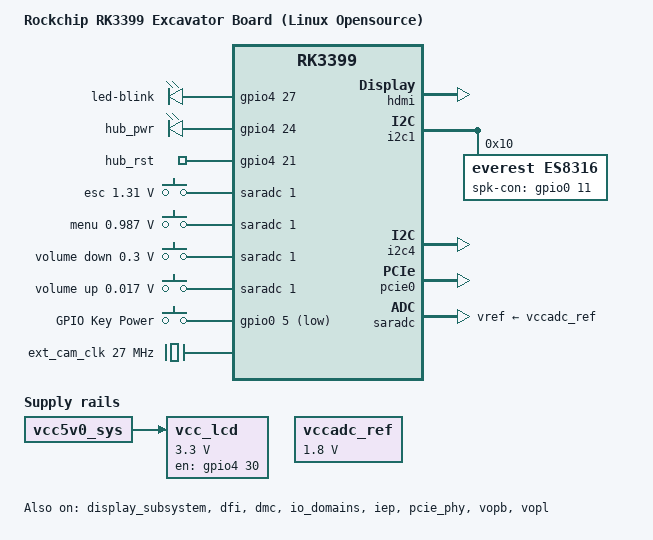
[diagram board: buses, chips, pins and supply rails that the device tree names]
/*
 * Copyright (c) 2019 Fuzhou Rockchip Electronics Co., Ltd
 *
 * This file is dual-licensed: you can use it either under the terms
 * of the GPL or the X11 license, at your option. Note that this dual
 * licensing only applies to this file, and not this project as a
 * whole.
 *
 *  a) This file is free software; you can redistribute it and/or
 *     modify it under the terms of the GNU General Public License as
 *     published by the Free Software Foundation; either version 2 of the
 *     License, or (at your option) any later version.
 *
 *     This file is distributed in the hope that it will be useful,
 *     but WITHOUT ANY WARRANTY; without even the implied warranty of
 *     MERCHANTABILITY or FITNESS FOR A PARTICULAR PURPOSE.  See the
 *     GNU General Public License for more details.
 *
 * Or, alternatively,
 *
 *  b) Permission is hereby granted, free of charge, to any person
 *     obtaining a copy of this software and associated documentation
 *     files (the "Software"), to deal in the Software without
 *     restriction, including without limitation the rights to use,
 *     copy, modify, merge, publish, distribute, sublicense, and/or
 *     sell copies of the Software, and to permit persons to whom the
 *     Software is furnished to do so, subject to the following
 *     conditions:
 *
 *     The above copyright notice and this permission notice shall be
 *     included in all copies or substantial portions of the Software.
 *
 *     THE SOFTWARE IS PROVIDED "AS IS", WITHOUT WARRANTY OF ANY KIND,
 *     EXPRESS OR IMPLIED, INCLUDING BUT NOT LIMITED TO THE WARRANTIES
 *     OF MERCHANTABILITY, FITNESS FOR A PARTICULAR PURPOSE AND
 *     NONINFRINGEMENT. IN NO EVENT SHALL THE AUTHORS OR COPYRIGHT
 *     HOLDERS BE LIABLE FOR ANY CLAIM, DAMAGES OR OTHER LIABILITY,
 *     WHETHER IN AN ACTION OF CONTRACT, TORT OR OTHERWISE, ARISING
 *     FROM, OUT OF OR IN CONNECTION WITH THE SOFTWARE OR THE USE OR
 *     OTHER DEALINGS IN THE SOFTWARE.
 */

/dts-v1/;

#include "rk3399-excavator-sapphire.dtsi"
#include "rk3399-linux.dtsi"
#include <dt-bindings/input/input.h>
//#include "screen-timing/panel-toshiba-duallvds-1920x1080.dtsi"

/ {
	model = "Rockchip RK3399 Excavator Board (Linux Opensource)";
	compatible = "rockchip,rk3399-excavator-linux", "rockchip,rk3399";

	vcc_lcd: vcc-lcd {
		compatible = "regulator-fixed";
		regulator-name = "vcc_lcd";
		gpio = <&gpio4 30 GPIO_ACTIVE_HIGH>;
		startup-delay-us = <20000>;
		enable-active-high;
		regulator-min-microvolt = <3300000>;
		regulator-max-microvolt = <3300000>;
		regulator-boot-on;
		vin-supply = <&vcc5v0_sys>;
	};

	vccadc_ref: vccadc-ref {
		compatible = "regulator-fixed";
		regulator-name = "vcc1v8_sys";
		regulator-always-on;
		regulator-boot-on;
		regulator-min-microvolt = <1800000>;
		regulator-max-microvolt = <1800000>;
	};


	leds {  
                status = "okay";
                compatible = "gpio-leds";

		pinctrl-names = "default";
                pinctrl-0 = <&bl_en>;
                SYS_STATUS {
                        gpios = <&gpio4 27 GPIO_ACTIVE_HIGH>;
                        label = "led-blink";
                        linux,default-trigger = "timer";
                        retain-state-suspended;
                };
                hub_pwr {
                        gpios = <&gpio4 24 GPIO_ACTIVE_HIGH>;
                        default-state = "on";
                };
                hub_rst {
                        gpios = <&gpio4 21 GPIO_ACTIVE_HIGH>;
                        default-state = "on";
                };
        };

	es8316-sound {
                compatible = "simple-audio-card";
                simple-audio-card,format = "i2s";
                simple-audio-card,name = "rockchip,es8316-codec";
                simple-audio-card,mclk-fs = <256>;
                simple-audio-card,widgets =
                        "Microphone", "Mic Jack",
                        "Headphone", "Headphone Jack";
                simple-audio-card,routing =
                        "Mic Jack", "MICBIAS1",
                        "IN1P", "Mic Jack",
                        "Headphone Jack", "HPOL",
                        "Headphone Jack", "HPOR";
                simple-audio-card,cpu {
                        sound-dai = <&i2s0>;
                };
                simple-audio-card,codec {
                        sound-dai = <&es8316>;
                };
        };

	adc_keys: adc-keys {
		compatible = "adc-keys";
		io-channels = <&saradc 1>;
		io-channel-names = "buttons";
		poll-interval = <100>;
		keyup-threshold-microvolt = <1800000>;

		esc-key {
			linux,code = <KEY_ESC>;
			label = "esc";
			press-threshold-microvolt = <1310000>;
		};

		menu-key {
			linux,code = <KEY_MENU>;
			label = "menu";
			press-threshold-microvolt = <987000>;
		};

		vol-down-key {
			linux,code = <KEY_VOLUMEDOWN>;
			label = "volume down";
			press-threshold-microvolt = <300000>;
		};

		vol-up-key {
			linux,code = <KEY_VOLUMEUP>;
			label = "volume up";
			press-threshold-microvolt = <17000>;
		};
	};

	gpio_keys: gpio-keys {
		compatible = "gpio-keys";
		#address-cells = <1>;
		#size-cells = <0>;
		autorepeat;

		pinctrl-names = "default";
		pinctrl-0 = <&pwrbtn>;

		button@0 {
			gpios = <&gpio0 5 GPIO_ACTIVE_LOW>;
			linux,code = <KEY_POWER>;
			label = "GPIO Key Power";
			linux,input-type = <1>;
			gpio-key,wakeup = <1>;
			debounce-interval = <100>;
		};
	};

	ext_cam_clk: external-camera-clock {
		compatible = "fixed-clock";
		clock-frequency = <27000000>;
		clock-output-names = "CLK_CAMERA_27MHZ";
		#clock-cells = <0>;
	};

	test_power: test-power {
		status = "okay";
	};
};

&display_subsystem {
	status = "okay";
};

&dfi {
	status = "okay";
};

&dmc {
	status = "okay";
	center-supply = <&vdd_center>;
	system-status-freq = <
		/*system status         freq(KHz)*/
		SYS_STATUS_NORMAL       856000
		SYS_STATUS_REBOOT       416000
		SYS_STATUS_SUSPEND      416000
		SYS_STATUS_VIDEO_1080P  416000
		SYS_STATUS_VIDEO_4K     856000
		SYS_STATUS_VIDEO_4K_10B 856000
		SYS_STATUS_PERFORMANCE  856000
		SYS_STATUS_BOOST        856000
		SYS_STATUS_DUALVIEW     856000
		SYS_STATUS_ISP          856000
	>;
	vop-bw-dmc-freq = <
	/* min_bw(MB/s) max_bw(MB/s) freq(KHz) */
		0       577      416000
		578     99999    856000
	>;
	auto-min-freq = <416000>;
	auto-freq-en = <0>;
};

&dmc_opp_table {
	compatible = "operating-points-v2";

	opp-200000000 {
		opp-hz = /bits/ 64 <200000000>;
		opp-microvolt = <900000>;
		status = "disabled";
	};
	opp-300000000 {
		opp-hz = /bits/ 64 <300000000>;
		opp-microvolt = <900000>;
		status = "disabled";
	};
	opp-400000000 {
		opp-hz = /bits/ 64 <400000000>;
		opp-microvolt = <900000>;
		status = "disabled";
	};
	opp-416000000 {
		opp-hz = /bits/ 64 <416000000>;
		opp-microvolt = <900000>;
	};
	opp-528000000 {
		opp-hz = /bits/ 64 <528000000>;
		opp-microvolt = <900000>;
		status = "disabled";
	};
	opp-600000000 {
		opp-hz = /bits/ 64 <600000000>;
		opp-microvolt = <900000>;
		status = "disabled";
	};
	opp-800000000 {
		opp-hz = /bits/ 64 <800000000>;
		opp-microvolt = <900000>;
		status = "disabled";
	};
	opp-856000000 {
		opp-hz = /bits/ 64 <856000000>;
		opp-microvolt = <900000>;
	};
	opp-928000000 {
		opp-hz = /bits/ 64 <928000000>;
		opp-microvolt = <900000>;
		status = "disabled";
	};
	opp-1056000000 {
		opp-hz = /bits/ 64 <1056000000>;
		opp-microvolt = <900000>;
		status = "disabled";
	};
};

&sdmmc {
	status = "disabled";
};

&hdmi {
	pinctrl-names = "default";
	pinctrl-0 = <&hdmi_i2c_xfer>, <&hdmi_cec>;
	#address-cells = <1>;
	#size-cells = <0>;
	#sound-dai-cells = <0>;
	status = "okay";
};

&hdmi_in_vopl {
	status = "disabled";
};

&io_domains {
        status = "okay";

        bt656-supply = <&vcc1v8_dvp>;              /* bt656_gpio2ab_ms */
        audio-supply = <&vcca1v8_codec>;        /* audio_gpio3d4a_ms */
        sdmmc-supply = <&vccio_sd>;             /* sdmmc_gpio4b_ms */
        gpio1830-supply = <&vcc_3v0>;           /* gpio1833_gpio4cd_ms */
};

&pmu_io_domains {
        status = "okay";
        pmu1830-supply = <&vcc_1v8>;
};

&i2c1 {
	status = "okay";

	es8316: es8316@10 {
                status = "okay";
                #sound-dai-cells = <0>;
                compatible = "everest,es8316";
                reg = <0x10>;
                clocks = <&cru SCLK_I2S_8CH_OUT>;
                clock-names = "mclk";
                pinctrl-names = "default";
                pinctrl-0 = <&i2s_8ch_mclk>;
                spk-con-gpio = <&gpio0 11 GPIO_ACTIVE_HIGH>;
                //hp-det-gpio = <&gpio4 28 GPIO_ACTIVE_HIGH>;
        };
};

&i2c4 {
	status = "okay";
};

&iep {
	status = "okay";
};

&iep_mmu {
	status = "okay";
};

&isp0_mmu {
	status = "okay";
};

&isp1_mmu {
	status = "okay";
};

&pcie_phy {
	status = "okay";
};

&pcie0 {
	status = "okay";
};

&saradc {
	vref-supply = <&vccadc_ref>;
};

&vopb {
	assigned-clocks = <&cru DCLK_VOP0_DIV>;
	assigned-clock-parents = <&cru PLL_CPLL>;
	status = "okay";
};

&vopb_mmu {
	status = "okay";
};

&vopl {
	assigned-clocks = <&cru DCLK_VOP0_DIV>;
	assigned-clock-parents = <&cru PLL_CPLL>;
	status = "okay";
};

&vopl_mmu {
	status = "okay";
};

&pinctrl {
	buttons {
		pwrbtn: pwrbtn {
			rockchip,pins = <0 5 RK_FUNC_GPIO &pcfg_pull_up>;
		};
	};

	hdmiin {
		hdmiin_gpios: hdmiin-gpios {
			rockchip,pins =
				<2 5 RK_FUNC_GPIO &pcfg_output_high>,
				<2 6 RK_FUNC_GPIO &pcfg_output_high>,
				<2 7 RK_FUNC_GPIO &pcfg_pull_none>,
				<2 8 RK_FUNC_GPIO &pcfg_output_high>,
				<2 9 RK_FUNC_GPIO &pcfg_output_high>,
				<2 10 RK_FUNC_GPIO &pcfg_output_low>,
				<2 12 RK_FUNC_GPIO &pcfg_pull_none>;
		};

		bl_en: bl-en {
                        rockchip,pins = <4 21 RK_FUNC_GPIO &pcfg_pull_up>;
                };
	};
};

/* DON'T PUT ANYTHING BELOW HERE.  PUT IT ABOVE PINCTRL */
/* DON'T PUT ANYTHING BELOW HERE.  PUT IT ABOVE PINCTRL */
/* DON'T PUT ANYTHING BELOW HERE.  PUT IT ABOVE PINCTRL */
